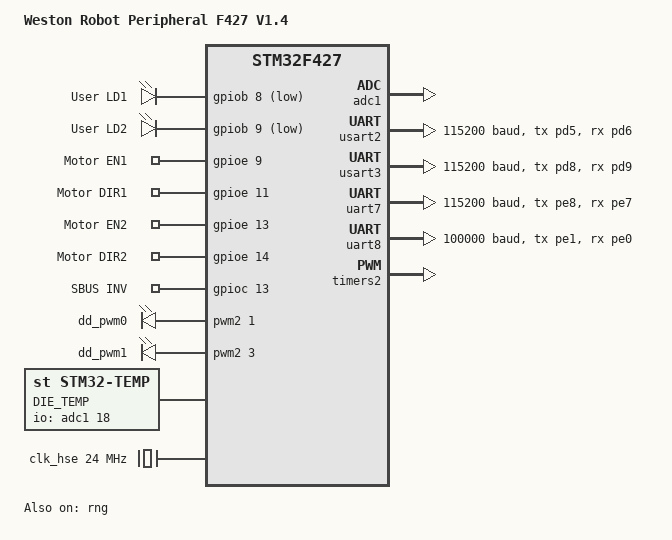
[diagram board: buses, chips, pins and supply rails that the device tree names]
/*
 * Copyright (c) 2017 Linaro Limited
 *
 * SPDX-License-Identifier: Apache-2.0
 */

/dts-v1/;
#include <st/f4/stm32f427vi.dtsi>
#include <st/f4/stm32f427v(g-i)tx-pinctrl.dtsi>

/ {
    model = "Weston Robot Peripheral F427 V1.4";
    compatible = "st,stm32f427";

    chosen {
        zephyr,console = &usart2; // for bluetooth printing
        // zephyr,shell-uart = &usart3; // for bootloader
        zephyr,sram = &sram0;
        zephyr,flash = &flash0;
        zephyr,ccm = &ccm0;
        // zephyr,can-primary = &can1;
        zephyr,code-partition = &slot0_partition;
    };

    leds {
        compatible = "gpio-leds";
        led0: led_1 {
            gpios = <&gpiob 8 GPIO_ACTIVE_LOW>;
            label = "User LD1";
        };
        led1: led_2 {
            gpios = <&gpiob 9 GPIO_ACTIVE_LOW>;
            label = "User LD2";
        };
    };

    gpio_keys {
        compatible = "gpio-keys";
        dio0: motor_en11 {
            gpios = <&gpioe 9 GPIO_ACTIVE_HIGH>;
            label = "Motor EN1";
        };
        dio1: motor_dir1 {
            gpios = <&gpioe 11 GPIO_ACTIVE_HIGH>;
            label = "Motor DIR1";
        };
        dio2: motor_en2 {
            gpios = <&gpioe 13 GPIO_ACTIVE_HIGH>;
            label = "Motor EN2";
        };
        dio3: motor_dir2 {
            gpios = <&gpioe 14 GPIO_ACTIVE_HIGH>;
            label = "Motor DIR2";
        };
        dio4: sbus_inv {
            gpios = <&gpioc 13 GPIO_ACTIVE_HIGH>;
            label = "SBUS INV";
        };
        // estop: exti_2 {
            //     gpios = <&gpioc 12 GPIO_ACTIVE_HIGH>;
            //     label = "Emergency Stop Button";
        // };
    };

    pwm_outputs {
        compatible = "pwm-leds";
        dd_pwm0: pwm_output_0 {
            pwms = <&pwm2 1 100 PWM_POLARITY_NORMAL>;
        };
        dd_pwm1: pwm_output_1 {
            pwms = <&pwm2 3 100 PWM_POLARITY_NORMAL>;
        };
    };

    stm-temp {
        label = "DIE_TEMP";
        compatible = "st,stm32-temp";
        io-channels = <&adc1 18>;
        status = "okay";
    };

    aliases {
        xled0 = &led0;
        xled1 = &led1;
        xdio0 = &dio0;
        xdio1 = &dio1;
        xdio2 = &dio2;
        xdio3 = &dio3;
        xdio4 = &dio4;
        xuart0 = &usart3;
        xuart1 = &uart7;
        xuart2 = &uart8;
    };
};

&clk_hse {
    hse-bypass;
    clock-frequency = <DT_FREQ_M(24)>; /* STLink 8MHz clock */
    status = "okay";
};

&pll {
    div-m = <12>;
    mul-n = <168>;
    div-p = <2>;
    div-q = <4>;
    clocks = <&clk_hse>;
    status = "okay";
};

&rcc {
    clocks = <&pll>;
    clock-frequency = <DT_FREQ_M(168)>; /* highest value to get a precise USB clock */
    ahb-prescaler = <1>;
    apb1-prescaler = <4>;
    apb2-prescaler = <2>;
};

&adc1 {
    status = "okay";
};

// &i2c1 {
    //     status = "okay";
    //     clock-frequency = <I2C_BITRATE_FAST>;
// };

// &i2c2 {
    //     compatible = "gpio-i2c";
    //     status = "okay";
    //     clock-frequency = <I2C_BITRATE_STANDARD>;
    //     scl-gpios = <&gpiob 10 (GPIO_OPEN_DRAIN | GPIO_PULL_UP)>;
    //     sda-gpios = <&gpiob 11 (GPIO_OPEN_DRAIN | GPIO_PULL_UP)>;
    //     adt7420@48 {
        //         compatible = "adi,adt7420";
        //         reg = <0x48>;
        //         label = "ADT7420";
    //     };
// };

// &spi1 {
    //     compatible = "st,stm32-spi";
    //     pinctrl-0 = <&spi1_sck_pa5 &spi1_miso_pa6 &spi1_mosi_pa7>;
    //     status = "okay";
    //     clock-frequency = <5000000>;
    //     cs-gpios = <&gpioc 4 GPIO_ACTIVE_LOW>;
    //     icm42605@0 {
        //         compatible = "invensense,icm42605";
        //         spi-max-frequency = <24000000>;
        //         reg = <0>;
        //         label = "ICM42605";
        //         int-gpios = <&gpioa 4 GPIO_ACTIVE_HIGH>;
        //         // int-gpios = <&gpioc 5 GPIO_ACTIVE_HIGH>;
    //     };
// };

&dma1 {
	status = "okay";
};

&dma2 {
	status = "okay";
};

&usart2 {
    pinctrl-0 = <&usart2_tx_pd5 &usart2_rx_pd6>;
    current-speed = <115200>;
    status = "okay";
};

&usart3 {
    parity = "none";
    pinctrl-0 = <&usart3_tx_pd8 &usart3_rx_pd9>;
    current-speed = <115200>;
    status = "okay";
    dmas = <&dma1 1 4 0x10480 0x03>, <&dma1 3 4 0x10440 0x03>;
	dma-names = "rx", "tx";
};

// &usart6 {
    //     pinctrl-0 = <&usart6_tx_pc6 &usart6_rx_pc7>;
    //     current-speed = <115200>;
    //     status = "okay";
// };

&uart7 {
    pinctrl-0 = <&uart7_tx_pe8 &uart7_rx_pe7>;
    current-speed = <115200>;
    dmas = <&dma1 3 5 0x10480 0x03>, <&dma1 1 5 0x10440 0x03>;
	dma-names = "rx", "tx";
    status = "okay";
};

//  dma-mask rx = 000000000000000 01 0 00 00 1 0 0 10 000000  0x10480
//  dma-mask tx = 000000000000000 01 0 00 00 1 0 0 01 000000  0x10440
// Reference: https://docs.zephyrproject.org/2.6.0/reference/devicetree/bindings/dma/st%2Cstm32-dma-v1.html#dtbinding-st-stm32-dma-v1
&uart8 {
    status = "okay";
    pinctrl-0 = <&uart8_tx_pe1 &uart8_rx_pe0>;
    current-speed = <100000>;
    dmas = <&dma1 6 5 0x10480 0x03>;
	dma-names = "rx";
};

// &usbotg_fs {
    //     status = "okay";
// };

// &timers1 {
    //     status = "okay";

    //     pwm1: pwm {
        //         status = "okay";
    //     };
// };

&timers2 {
    status = "okay";

    pwm2: pwm {
        status = "okay";
        pinctrl-0 = <&tim2_ch1_pa0 &tim2_ch3_pa2>;
    };
};

// pwms {
    // dd_pwm0: node {
        //     pwms = <&pwm2 1 100 PWM_POLARITY_NORMAL>;
    // };
// };

// &rtc {
    //     status = "okay";
// };

// &iwdg {
    //     status = "okay";
// };

&rng {
    status = "okay";
};

// &can1 {
    //     pinctrl-0 = <&can1_rx_pb8 &can1_tx_pb9>;
    //     bus-speed = <1000000>;
    //     sjw = <1>;
    //     prop-seg = <0>;
    //     phase-seg1 = <11>;
    //     phase-seg2 = <2>;
    //     status = "okay";
// };

// &can2 {
    //     pinctrl-0 = <&can2_rx_pb5 &can2_tx_pb6>;
    //     bus-speed = <1000000>;
    //     sjw = <1>;
    //     prop-seg = <0>;
    //     phase-seg1 = <11>;
    //     phase-seg2 = <2>;
    //     status = "okay";
// };

// &mac {
    //     status = "okay";
// };

&flash0 {
    /*
     * For more information, see:
     * https: //docs.zephyrproject.org/latest/reference/devicetree/index.html#fixed-flash-partitions
     */
    partitions {
        compatible = "fixed-partitions";
        #address-cells = <1>;
        #size-cells = <1>;

        /* 64KB for bootloader */
        boot_partition: partition@0 {
            label = "mcuboot";
            reg = <0x00000000 0x00010000>;
            read-only;
        };

        /* storage: 64KB for settings */
        storage_partition: partition@10000 {
            label = "storage";
            reg = <0x00010000 0x00010000>;
        };

        /* application image slot: 256KB */
        slot0_partition: partition@20000 {
            label = "image-0";
            reg = <0x00020000 0x00040000>;
        };

        /* backup slot: 256KB */
        slot1_partition: partition@60000 {
            label = "image-1";
            reg = <0x00060000 0x00040000>;
        };

        /* swap slot: 128KB */
        scratch_partition: partition@a0000 {
            label = "image-scratch";
            reg = <0x000a0000 0x00020000>;
        };

    };
};
